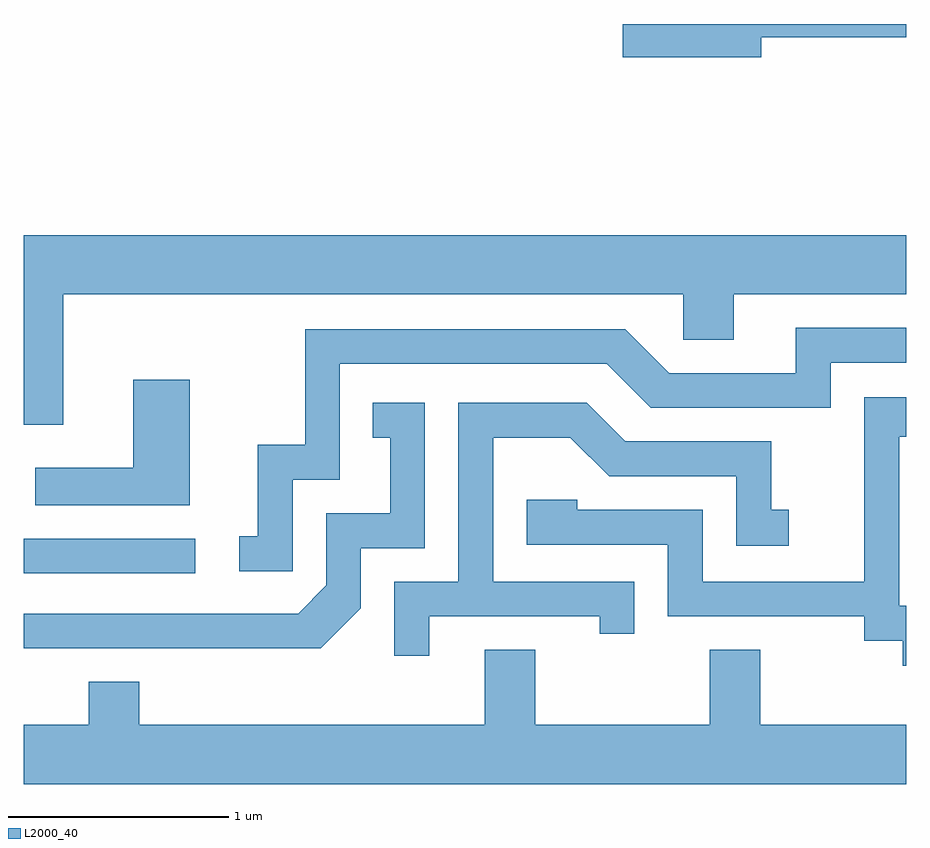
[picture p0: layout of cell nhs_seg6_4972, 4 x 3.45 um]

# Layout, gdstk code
import gdstk
lib = gdstk.Library(unit=1e-6, precision=1e-09)
def R(c, l, rs):  # rectangles x0, y0, x1, y1
    for r in rs: c.add(gdstk.rectangle(r[:2], r[2:], *l))
def P(c, l, *ps):  # polygons
    for p in ps: c.add(gdstk.Polygon(p, *l))
L2000_40 = (2000, 40)

nhs_seg6_4972 = lib.new_cell('nhs_seg6_4972')
R(nhs_seg6_4972, L2000_40, [(337.611,1537.671,338.388,1537.829)])
P(nhs_seg6_4972, L2000_40, [(340.954,1540.101),(341.611,1540.101),(341.611,1540.162),(340.326,1540.162),(340.326,1540.011),(340.954,1540.011)],
  [(337.789,1538.936),(340.601,1538.936),(340.601,1538.731),(340.829,1538.731),(340.829,1538.936),(341.611,1538.936),(341.611,1539.204),(337.611,1539.204),(337.611,1538.346),(337.789,1538.346)],
  [(338.829,1538.096),(339.044,1538.096),(339.044,1538.621),(340.254,1538.621),(340.454,1538.421),(341.269,1538.421),(341.269,1538.626),(341.611,1538.626),(341.611,1538.784),(341.111,1538.784),(341.111,1538.579),(340.537,1538.579),(340.337,1538.779),(338.886,1538.779),(338.886,1538.254),(338.671,1538.254),(338.671,1537.839),(338.588,1537.839),(338.588,1537.681),(338.829,1537.681)],
  [(338.364,1538.549),(338.106,1538.549),(338.106,1538.149),(337.663,1538.149),(337.663,1537.981),(338.364,1537.981)],
  [(341.611,1537.524),(341.579,1537.524),(341.579,1538.291),(341.611,1538.291),(341.611,1538.469),(341.421,1538.469),(341.421,1537.634),(340.689,1537.634),(340.689,1537.959),(340.119,1537.959),(340.119,1538.004),(339.891,1538.004),(339.891,1537.801),(340.531,1537.801),(340.531,1537.476),(341.421,1537.476),(341.421,1537.366),(341.596,1537.366),(341.596,1537.253),(341.611,1537.253)],
  [(339.449,1537.476),(340.221,1537.476),(340.221,1537.398),(340.379,1537.398),(340.379,1537.634),(339.739,1537.634),(339.739,1538.286),(340.089,1538.286),(340.264,1538.111),(340.841,1538.111),(340.841,1537.796),(341.078,1537.796),(341.078,1537.959),(340.999,1537.959),(340.999,1538.269),(340.337,1538.269),(340.162,1538.444),(339.581,1538.444),(339.581,1537.634),(339.291,1537.634),(339.291,1537.298),(339.449,1537.298)],
  [(339.139,1537.514),(339.139,1537.786),(339.429,1537.786),(339.429,1538.444),(339.193,1538.444),(339.193,1538.286),(339.271,1538.286),(339.271,1537.944),(338.981,1537.944),(338.981,1537.617),(338.854,1537.489),(337.611,1537.489),(337.611,1537.331),(338.957,1537.331)],
  [(341.611,1536.984),(340.949,1536.984),(340.949,1537.324),(340.721,1537.324),(340.721,1536.984),(339.929,1536.984),(339.929,1537.324),(339.701,1537.324),(339.701,1536.984),(338.134,1536.984),(338.134,1537.179),(337.906,1537.179),(337.906,1536.984),(337.611,1536.984),(337.611,1536.716),(341.611,1536.716)])

lib.write_gds('nhs_seg6_4972.gds')
